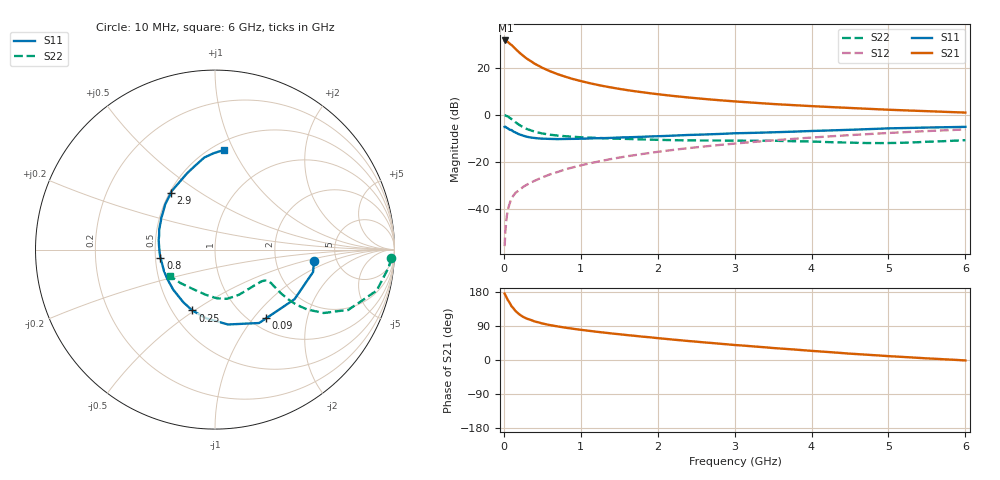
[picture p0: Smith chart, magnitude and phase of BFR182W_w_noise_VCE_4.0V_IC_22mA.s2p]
! Infineon Technologies  Discrete & RF Semiconductors
! BFR182W
! VCE =  4.0 V,  IC =  22 mA
! Common Emitter S-Parameters:  Jan 2017
# GHz  S  MA  R  50
!  f  S11  S21  S12  S22
! GHz  MAG  ANG  MAG  ANG  MAG  ANG  MAG  ANG
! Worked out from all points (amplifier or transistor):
!   77 points, 10 MHz to 6 GHz, reference 50 ohm
!   highest |S21| = 31.7 dB at 20 MHz (marker M1)
!   |S21| within 3 dB of that: start of sweep to 132.5 MHz
!   unconditionally stable (mu >= 1): 804.1 MHz to 2.316 GHz
!   at 130 MHz: K = 0.44, MSG = 31.4 dB, |S12| = -34.1 dB
!   at 2.2 GHz: K = 1.01, MAG = 10.9 dB, |S12| = -14.9 dB
!   at 6 GHz: K = 0.87, MSG = 3.6 dB, |S12| = -6.2 dB
!   lowest NFmin = 1.47 dB at 450 MHz
!   S11 on the Smith chart (normalised r, x): 10 MHz: 3.37, -0.62; 90 MHz: 1.17, -1.16; 250 MHz: 0.63, -0.49; 800 MHz: 0.53, -0.06; 2.9 GHz: 0.51, +0.38; 6 GHz: 0.57, +0.91
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0.01  0.5552 -6.6  38.37 175.3  0.0016 93.5  0.9831 -2.7
0.02  0.5605 -12.9  38.5 171.2  0.0033 81.4  0.973 -5.8
0.05  0.5221 -32.0  36.04 158.9  0.0091 78.5  0.9296 -14.2
0.09  0.4772 -53.3  31.6 145.7  0.0151 71.6  0.8353 -22.1
0.1  0.4772 -59.0  30.8 141.9  0.0166 70.7  0.8146 -24.4
0.15  0.4234 -80.2  25.58 129.5  0.0218 65.4  0.7001 -30.3
0.2  0.386 -97.1  21.39 120.7  0.025 64.3  0.6126 -33.0
0.25  0.362 -110.4  18.22 113.9  0.0292 64.3  0.5484 -34.1
0.3  0.3424 -121.0  15.72 109.0  0.0327 64.9  0.5005 -34.2
0.4  0.3225 -136.2  12.32 101.7  0.0395 66.5  0.4391 -33.5
0.5  0.312 -148.4  10.07 96.4  0.0466 67.5  0.4023 -32.4
0.6  0.3082 -157.5  8.524 92.1  0.0541 68.6  0.3786 -31.5
0.7  0.3051 -164.8  7.365 88.6  0.0609 69.5  0.3627 -30.8
0.8  0.3075 -171.1  6.499 85.3  0.0692 70.5  0.3514 -30.7
1.1  0.3139 174.5  4.803 77.2  0.0916 70.8  0.3293 -31.5
1.5  0.3302 160.4  3.586 68.0  0.1232 69.8  0.3103 -35.6
2.1  0.356 144.6  2.645 55.8  0.1713 66.7  0.292 -45.9
2.9  0.3991 128.2  1.996 41.4  0.2366 61.0  0.2837 -63.8
3.1  0.4092 124.5  1.89 38.2  0.2531 59.4  0.2823 -68.2
4.1  0.4593 108.3  1.509 22.7  0.3373 50.6  0.2676 -90.3
5.1  0.5205 95.3  1.27 9.1  0.4199 41.0  0.2531 -122.5
6  0.5563 85.1  1.12 -1.2  0.4901 31.8  0.29 -149.8
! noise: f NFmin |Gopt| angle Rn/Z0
0.45  1.47  0.13  -172  0.15
0.9  1.55  0.14  -167  0.15
1.9  2.06  0.29  -141  0.17
2.4  2.34  0.31  -127  0.27
